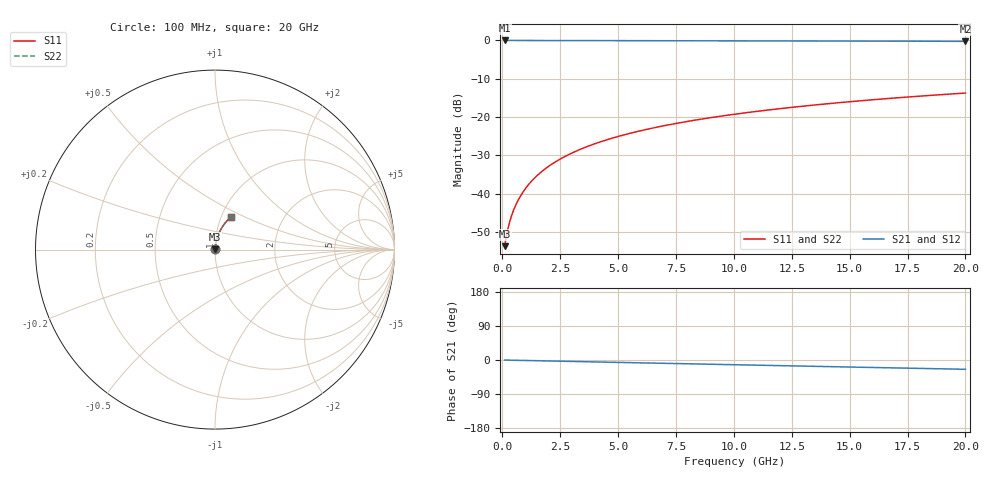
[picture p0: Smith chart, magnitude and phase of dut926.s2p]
! Touchstone file exported from HFSS 2026.1.0
!  File:  C:/ffzhzh/LocalFiles/Ansys_Project_Files/temp_train_TMRDL_926_1783158258_22436.aedt
!  Generated:  05:45:31 PM Jul  4, 2026
!  Design:  TMRDL
!  Project:  temp_train_TMRDL_926_1783158258_22436
! Variables:
!  h_bsmrdl = 2um
!  h_ox = 20um
!  h_rdl = 5um
!  h_sub = 80um
!  h_tmrdl = 3.64um
!  h_tsv = 80um
!  h_via = 3um
!  l_bsmrdl = 300um
!  l_sub = 751.15um
!  l_tmrdl = 351.15um
!  m_sub = 200um
!  pitch = 44.58um
!  r_tsv = 6um
!  s_tmrdl = 10um
!  w_bsmrdl = 18um
!  w_sub = 500um
!  w_tmrdl = 24.57um
!  x_tsv_center1 = 363.435um
!  x_tsv_center2 = 681.435um
!  x_tsv_center3 = 1057.155um
!  x_tsv_center4 = 1375.155um
!  x_tsv_center5 = 1750.875um
!  x_tsv_center6 = 2068.875um
# GHz S MA R 50.000000
! Terminal data exported
! Port[1] = TM_RDL1_1_T1
! Port[2] = TM_RDL1_1_T2
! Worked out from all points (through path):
!   200 points, 100 MHz to 20 GHz, reference 50 ohm
!   highest |S21| = -0.01 dB at 100 MHz (marker M1); lowest = -0.3 dB at 20 GHz (marker M2)
!   group delay of S21, straight-line fit = 3.4 ps
!   lowest |S11| = -53.7 dB at 100 MHz (marker M3), VSWR 1.00, Z = 50.2 + j0.128 ohm
!   |S11| at or under -10 dB: start of sweep to end of sweep
!   |S22| runs from -53.7 to -13.7 dB; largest |S21 - S12| = 2.2e-15
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0.1  0.002067 38.2  0.9984 -0.1  0.9984 -0.1  0.002067 38.2
! Gamma 0 0 0 0
! Port Impedance 50 0 50 0
0.2  0.003041 55.2  0.9983 -0.3  0.9983 -0.3  0.003041 55.2
0.3  0.004101 63.2  0.9982 -0.4  0.9982 -0.4  0.004101 63.2
0.4  0.005168 67.8  0.9981 -0.5  0.9981 -0.5  0.005168 67.8
0.5  0.006237 70.9  0.998 -0.7  0.998 -0.7  0.006237 70.9
0.6  0.007311 73.2  0.998 -0.8  0.998 -0.8  0.00731 73.2
0.8  0.009478 76.2  0.9979 -1.0  0.9979 -1.0  0.009478 76.2
1.1  0.01277 78.8  0.9978 -1.4  0.9978 -1.4  0.01277 78.8
1.3  0.01498 79.9  0.9977 -1.7  0.9977 -1.7  0.01498 79.9
1.6  0.01831 80.8  0.9976 -2.0  0.9976 -2.0  0.01831 80.8
2.1  0.02387 81.6  0.9973 -2.7  0.9973 -2.7  0.02387 81.6
2.7  0.03054 81.8  0.997 -3.4  0.997 -3.4  0.03054 81.8
3.5  0.03939 81.5  0.9964 -4.4  0.9964 -4.4  0.03939 81.5
4.2  0.04707 81.0  0.9959 -5.3  0.9959 -5.3  0.04707 81.0
5  0.05579 80.2  0.9951 -6.3  0.9951 -6.3  0.05579 80.2
5.9  0.0655 79.3  0.9942 -7.4  0.9942 -7.4  0.0655 79.3
6.8  0.07511 78.4  0.9932 -8.6  0.9932 -8.6  0.07511 78.4
8.3  0.09091 76.7  0.9913 -10.4  0.9913 -10.4  0.09091 76.7
10.1  0.1095 74.7  0.9889 -12.6  0.9889 -12.6  0.1095 74.7
13.4  0.1428 71.0  0.9838 -16.6  0.9838 -16.6  0.1428 71.0
16.7  0.1749 67.2  0.9779 -20.6  0.9779 -20.6  0.1749 67.2
20  0.2056 63.5  0.9714 -24.5  0.9714 -24.5  0.2056 63.5
